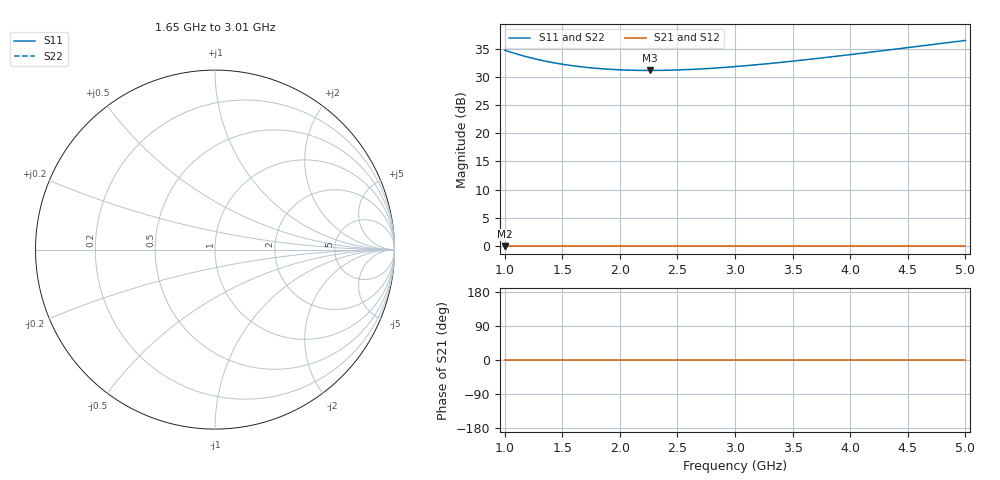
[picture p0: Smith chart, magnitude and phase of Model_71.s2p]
# GHZ S RI R 50
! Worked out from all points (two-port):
!   401 points, 1 GHz to 5 GHz, reference 50 ohm
!   highest |S21| = 0.00 dB at 1 GHz (marker M1); lowest = 0.0 dB at 1 GHz (marker M2)
!   |S21| within 3 dB of the highest: start of sweep to end of sweep
!   lowest |S11| = 31.1 dB at 2.26 GHz (marker M3)
!   |S11| at or under -10 dB: nowhere
!   |S22| runs from 31.1 to 36.4 dB; largest |S21 - S12| = 0
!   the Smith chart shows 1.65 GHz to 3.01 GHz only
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1  54.53 0  1 0  1 0  54.53 0
1.15  48.84 0  1 0  1 0  48.84 0
1.22  46.75 0  1 0  1 0  46.75 0
1.3  44.72 0  1 0  1 0  44.72 0
1.38  42.99 0  1 0  1 0  42.99 0
1.47  41.37 0  1 0  1 0  41.37 0
1.57  39.9 0  1 0  1 0  39.9 0
1.67  38.72 0  1 0  1 0  38.72 0
1.81  37.49 0  1 0  1 0  37.49 0
1.95  36.67 0  1 0  1 0  36.67 0
2.1  36.17 0  1 0  1 0  36.17 0
2.26  36 0  1 0  1 0  36 0
2.34  36.04 0  1 0  1 0  36.04 0
2.5  36.35 0  1 0  1 0  36.35 0
2.66  36.93 0  1 0  1 0  36.93 0
3  38.93 0  1 0  1 0  38.93 0
3.33  41.75 0  1 0  1 0  41.75 0
3.67  45.44 0  1 0  1 0  45.44 0
4  49.71 0  1 0  1 0  49.71 0
4.34  54.77 0  1 0  1 0  54.77 0
4.63  59.59 0  1 0  1 0  59.59 0
5  66.37 0  1 0  1 0  66.37 0
